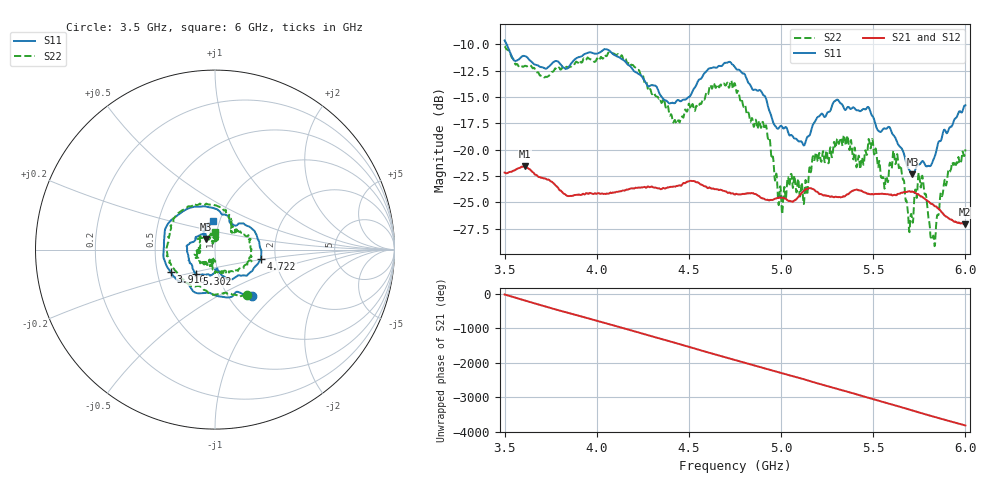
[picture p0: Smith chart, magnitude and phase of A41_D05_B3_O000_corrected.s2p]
! Created with skrf 1.9.0 (http://scikit-rf.org).
# Hz S RI R 50.0
!freq ReS11 ImS11 ReS21 ImS21 ReS12 ImS12 ReS22 ImS22
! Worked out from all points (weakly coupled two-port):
!   1601 points, 3.5 GHz to 6 GHz, reference 50 ohm
!   highest |S21| = -21.59 dB at 3.611 GHz (marker M1); lowest = -27.1 dB at 5.995 GHz (marker M2)
!   lowest |S11| = -22.3 dB at 5.713 GHz (marker M3), VSWR 1.17, Z = 45.1 + j5.39 ohm
!   |S11| at or under -10 dB: 3.511 GHz to end of sweep
!   |S22| runs from -29.2 to -10.2 dB; largest |S21 - S12| = 0.0012
!   S11 on the Smith chart (normalised r, x): 3.5 GHz: 1.28, -0.74; 3.916 GHz: 0.59, -0.16; 4.722 GHz: 1.68, -0.18; 5.302 GHz: 0.78, -0.22; 6 GHz: 0.93, +0.31
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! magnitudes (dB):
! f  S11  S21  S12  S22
! 3.5 GHz  -9.6  -22.2  -22.1  -10.2
! 3.611 GHz  -11.1  -21.6  -21.6  -12.0
! 3.916 GHz  -11.1  -24.3  -24.2  -11.7
! 3.917 GHz  -11.1  -24.3  -24.2  -11.7
! 4.127 GHz  -11.3  -23.9  -23.9  -11.2
! 4.334 GHz  -14.4  -23.7  -23.6  -15.1
! 4.441 GHz  -15.3  -23.4  -23.3  -17.3
! 4.722 GHz  -11.7  -24.1  -24.0  -13.8
! 4.75 GHz  -12.2  -24.3  -24.1  -13.8
! 4.912 GHz  -14.9  -24.7  -24.6  -18.0
! 4.997 GHz  -17.7  -24.5  -24.5  -23.6
! 5.131 GHz  -19.4  -23.8  -23.7  -23.1
! 5.167 GHz  -17.9  -23.7  -23.6  -21.3
! 5.302 GHz  -15.3  -24.5  -24.4  -19.2
! 5.584 GHz  -17.8  -24.2  -24.2  -22.2
! 5.639 GHz  -19.6  -24.2  -24.1  -21.8
! 5.713 GHz  -22.3  -24.0  -23.9  -26.8
! 5.758 GHz  -21.3  -24.4  -24.3  -23.6
! 5.827 GHz  -20.9  -25.2  -25.2  -28.2
! 5.897 GHz  -18.4  -26.4  -26.2  -23.3
! 5.995 GHz  -15.8  -27.1  -26.9  -20.5
! 6 GHz  -15.8  -27.1  -27.0  -20.0
